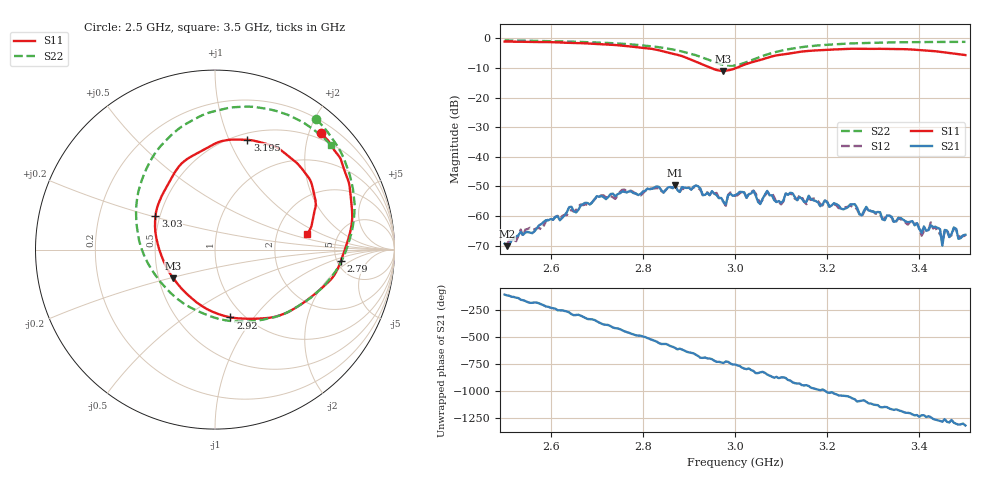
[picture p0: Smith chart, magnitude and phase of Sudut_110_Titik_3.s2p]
# Hz S RI R 50
! CMT, C1220, 16058040, 17.2.0/1
! Date: 15/08/2018 10:41:05
! Data: Format (Calibration Info)
! Freq  S11: Re/Im (F2)  S21: Re/Im (F2)  S12: Re/Im (F2)  S22: Re/Im (F2)
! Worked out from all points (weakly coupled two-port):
!   201 points, 2.5 GHz to 3.5 GHz, reference 50 ohm
!   highest |S21| = -49.61 dB at 2.87 GHz (marker M1); lowest = -70.2 dB at 2.505 GHz (marker M2)
!   lowest |S11| = -11.0 dB at 2.975 GHz (marker M3), VSWR 1.78, Z = 29.8 - j10.4 ohm
!   |S11| at or under -10 dB: 2.948 GHz to 3.003 GHz (55.13 MHz wide, 1.85 % of centre)
!   |S22| runs from -9.2 to -0.7 dB; largest |S21 - S12| = 0.00032
!   S11 on the Smith chart (normalised r, x): 2.5 GHz: 0.39, +2.21; 2.79 GHz: 5.44, -1.33; 2.92 GHz: 0.87, -0.77; 3.03 GHz: 0.47, +0.20; 3.195 GHz: 0.57, +1.17; 3.5 GHz: 3.00, +0.70
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2.5e9  0.5924 0.6491  -0.000103 -0.000327  -0.000102 -0.00031  0.5641 0.7252
2.505e9  0.5992 0.6409  -0.000132 -0.000282  -8.7e-05 -0.000322  0.5699 0.7197
2.67e9  0.7513 0.341  0.00106 0.00118  0.00113 0.00104  0.7386 0.4524
2.79e9  0.7023 -0.0614  -0.00134 -0.00183  -0.00144 -0.00167  0.7633 0.106
2.835e9  0.5874 -0.221  -0.003 0.000814  -0.00289 0.000662  0.704 -0.0664
2.87e9  0.4109 -0.3465  -0.00168 0.00285  -0.00169 0.00292  0.5992 -0.2103
2.92e9  0.0859 -0.3779  0.00223 0.00227  0.00206 0.00219  0.3345 -0.3757
2.975e9  -0.2319 -0.1598  0.00166 -0.000561  0.00163 -0.000563  -0.0994 -0.341
3e9  -0.3098 -0.00234  0.0019 -0.0012  0.00184 -0.00121  -0.276 -0.2114
3.03e9  -0.3318 0.1851  0.000843 -0.0022  0.000925 -0.00217  -0.4106 0.00807
3.055e9  -0.2829 0.3255  -0.000405 -0.00155  -0.000522 -0.00158  -0.4399 0.2083
3.07e9  -0.24 0.402  -0.00153 -0.00217  -0.0014 -0.00217  -0.4274 0.3206
3.17e9  0.0949 0.6129  -0.000549 0.00177  -0.000765 0.00183  -0.088 0.7403
3.195e9  0.1794 0.6119  0.000118 0.00184  0.00024 0.00182  0.00273 0.7726
3.335e9  0.491 0.4421  0.0002 -0.000998  0.000146 -0.00101  0.3928 0.7553
3.395e9  0.5484 0.3244  -0.000568 -0.0005  -0.000596 -0.000461  0.5042 0.7001
3.405e9  0.5547 0.2982  -0.000405 -0.00033  -0.000407 -0.000228  0.5201 0.6887
3.425e9  0.5616 0.2514  -0.000653 -0.000254  -0.000744 -0.000248  0.5502 0.6684
3.44e9  0.5553 0.22  -0.000628 8.25e-05  -0.000514 4.68e-05  0.572 0.6508
3.45e9  0.5511 0.1974  -0.000296 0.000116  -0.000376 5.37e-05  0.5864 0.6398
3.455e9  0.5485 0.1841  -0.000584 -3.54e-05  -0.000536 -6.56e-05  0.5929 0.6346
3.5e9  0.5143 0.0852  -0.000278 0.000396  -0.000191 0.000425  0.6458 0.5826
